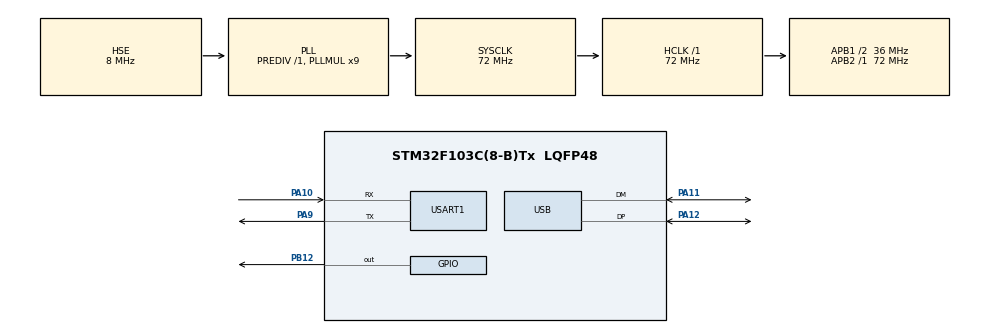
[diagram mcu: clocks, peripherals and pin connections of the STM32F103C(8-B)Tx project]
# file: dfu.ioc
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Dma.Request0=USART1_RX
Dma.USART1_RX.0.Direction=DMA_PERIPH_TO_MEMORY
Dma.USART1_RX.0.Instance=DMA1_Channel5
Dma.USART1_RX.0.MemDataAlignment=DMA_MDATAALIGN_BYTE
Dma.USART1_RX.0.MemInc=DMA_MINC_ENABLE
Dma.USART1_RX.0.Mode=DMA_CIRCULAR
Dma.USART1_RX.0.PeriphDataAlignment=DMA_PDATAALIGN_BYTE
Dma.USART1_RX.0.PeriphInc=DMA_PINC_DISABLE
Dma.USART1_RX.0.Priority=DMA_PRIORITY_LOW
Mcu.Family=STM32F1
Mcu.Name=STM32F103C(8-B)Tx
Mcu.Package=LQFP48
NVIC.DMA1_Channel5_IRQn=true\:0\:0\:false\:false\:true\:false\:true\:true
NVIC.PriorityGroup=NVIC_PRIORITYGROUP_4
NVIC.USB_LP_CAN1_RX0_IRQn=true\:0\:0\:false\:false\:true\:false\:true\:true
PA10.Mode=Asynchronous
PA10.Signal=USART1_RX
PA11.Mode=Device
PA11.Signal=USB_DM
PA12.Mode=Device
PA12.Signal=USB_DP
PA13.Mode=Serial_Wire
PA13.Signal=SYS_JTMS-SWDIO
PA14.Mode=Serial_Wire
PA14.Signal=SYS_JTCK-SWCLK
PA9.Mode=Asynchronous
PA9.Signal=USART1_TX
PB12.Signal=GPIO_Output
PD0-OSC_IN.Mode=HSE-External-Oscillator
PD0-OSC_IN.Signal=RCC_OSC_IN
PD1-OSC_OUT.Mode=HSE-External-Oscillator
PD1-OSC_OUT.Signal=RCC_OSC_OUT
ProjectManager.HeapSize=0x200
ProjectManager.StackSize=0x400
ProjectManager.TargetToolchain=STM32CubeIDE
RCC.AHBFreq_Value=72000000
RCC.APB1CLKDivider=RCC_HCLK_DIV2
RCC.APB1Freq_Value=36000000
RCC.APB1TimFreq_Value=72000000
RCC.APB2Freq_Value=72000000
RCC.APB2TimFreq_Value=72000000
RCC.HCLKFreq_Value=72000000
RCC.PLLMUL=RCC_PLL_MUL9
RCC.SYSCLKFreq_VALUE=72000000
RCC.SYSCLKSource=RCC_SYSCLKSOURCE_PLLCLK
RCC.USBFreq_Value=48000000
RCC.USBPrescaler=RCC_USBCLKSOURCE_PLL_DIV1_5
USART1.VirtualMode=VM_ASYNC
USB_DEVICE.APP_RX_DATA_SIZE=512
USB_DEVICE.APP_TX_DATA_SIZE=512
USB_DEVICE.CLASS_NAME_FS=CDC
USB_DEVICE.VirtualMode=Cdc
USB_DEVICE.VirtualModeFS=Cdc_FS
VP_USB_DEVICE_VS_USB_DEVICE_CDC_FS.Mode=CDC_FS
board=custom

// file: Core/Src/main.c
/* USER CODE BEGIN Header */
/**
  ******************************************************************************
  * @file           : main.c
  * @brief          : Main program body
  ******************************************************************************
  * @attention
  *
  * Copyright (c) 2024 STMicroelectronics.
  * All rights reserved.
  *
  * This software is licensed under terms that can be found in the LICENSE file
  * in the root directory of this software component.
  * If no LICENSE file comes with this software, it is provided AS-IS.
  *
  ******************************************************************************
  */
/* USER CODE END Header */
#include "main.h"
#include "dma.h"
#include "usart.h"
#include "usb_device.h"
#include "gpio.h"

/* USER CODE BEGIN PV */
extern uint8_t usb_rx_val[5];
extern bool usb_send;
extern UART_HandleTypeDef huart1;
bool uart_flag=false;
bool toggle_do=false;
uint32_t toggle_val=100;
uint8_t buffer_tx[64];
/* USER CODE END PV */

void SystemClock_Config(void);
/* USER CODE BEGIN PFP */
void sum_word(uint8_t *buf,uint8_t length,char *fmt,...);
bool is_same_string(uint8_t *buf, uint8_t start, uint8_t end,char *compare_string);
extern uint8_t CDC_Transmit_FS(uint8_t* Buf, uint16_t Len);
void send_cdc(uint8_t* buffer);
void send_flash_val(uint8_t length,uint32_t add);

void usb_reset(){
	GPIO_InitTypeDef GPIO_InitStruct = {0};
	  /*Configure GPIO pin : PB12 */
	GPIO_InitStruct.Pin = GPIO_PIN_12;
	GPIO_InitStruct.Mode = GPIO_MODE_OUTPUT_OD;
	GPIO_InitStruct.Pull = GPIO_NOPULL;
	GPIO_InitStruct.Speed = GPIO_SPEED_FREQ_LOW;
	HAL_GPIO_Init(GPIOA, &GPIO_InitStruct);

	HAL_GPIO_WritePin(GPIOA, GPIO_PIN_12, GPIO_PIN_RESET);
	HAL_Delay(500);
	HAL_GPIO_WritePin(GPIOA, GPIO_PIN_12, GPIO_PIN_SET);
	GPIO_InitStruct.Mode = GPIO_MODE_INPUT;
	HAL_GPIO_Init(GPIOA, &GPIO_InitStruct);
}

void sum_word(uint8_t *buf,uint8_t length,char *fmt,...){
	va_list arg;
	va_start(arg,fmt);
	memset(buf,0,length);
	vsnprintf((char*)buf,length,fmt,arg);
	va_end(arg);
}

void HAL_UART_RxCpltCallback(UART_HandleTypeDef *huart)
{
	uart_flag=true;
  /* Prevent unused argument(s) compilation warning */
  UNUSED(huart);
  /* NOTE: This function should not be modified, when the callback is needed,
           the HAL_UART_RxCpltCallback could be implemented in the user file
   */
}

bool is_same_string(uint8_t *buf, uint8_t start, uint8_t end,char *compare_string)
{
	uint8_t j=0;
	bool ret=false;
	for(uint8_t i=start;i<end;i++)
	{
		if(buf[i]==0)
		{
			break;
		}
		if(buf[i]==compare_string[j++]){
			ret=true;
		}
		else
		{
			ret=false;
			break;
		}
	}
	return ret;
}

void printf_select_area(uint8_t *buf,uint8_t start,uint8_t end)
{
	for(uint8_t i=start+1;i<end;i++){
		uint8_t you=buf[i];
		HAL_Delay(1);
		CDC_Transmit_FS(&you,1);
	}
	HAL_Delay(1);
}

void send_cdc(uint8_t* buffer){
	uint8_t length = strlen((char *)buffer);
	CDC_Transmit_FS(buffer,length);
}

void send_flash_val(uint8_t length,uint32_t add){
	uint8_t *flash_value=(uint8_t *)add;
	send_cdc((uint8_t *)"\n");
	memset(buffer_tx,0,64);
	for(uint8_t i=0;i<length;i++){
		sum_word(buffer_tx,64,"add : 0x%X, val : 0x%X\n",add+i,flash_value[i]);
		HAL_Delay(1);
		send_cdc(buffer_tx);
	}
}

void enter_press(uint8_t *buffer){
	if(is_same_string(buffer,0,6,(char*)"printf")){
		send_cdc((uint8_t*)"\n>>");
		printf_select_area(buffer,6,32);
		send_cdc((uint8_t*)"\n");
	}
	else if(is_same_string(buffer,0,4,(char*)"help")){
		send_cdc((uint8_t*)"\n\n");
		HAL_Delay(1);
		send_cdc((uint8_t*)"********************************************************************************\n");
		HAL_Delay(1);
		send_cdc((uint8_t*)"command list\n\n\n");
		HAL_Delay(1);
		send_cdc((uint8_t*)"1. led on - turn on led\n\n");
		HAL_Delay(1);
		send_cdc((uint8_t*)"2. led off - turn off led\n\n");
		HAL_Delay(1);
		send_cdc((uint8_t*)"3. led toggle [second] - toggle led at user set time\n\n");
		HAL_Delay(1);
		send_cdc((uint8_t*)"4. printf [value] - print value\n\n");
		HAL_Delay(1);
		send_cdc((uint8_t*)"5. flashread [value] - read flash memory data, start from 0x08014000 to value\n\n");
		HAL_Delay(1);
		send_cdc((uint8_t*)"********************************************************************************\n\n");
	}
	else if(is_same_string(buffer,0,3,(char*)"led")){
		if(is_same_string(buffer,4,6,(char*)"on")){
			HAL_GPIO_WritePin(GPIOB, GPIO_PIN_12, GPIO_PIN_RESET);
			toggle_do=false;
			send_cdc((uint8_t*)"\n");
		}
		if(is_same_string(buffer,4,7,(char*)"off")){
			HAL_GPIO_WritePin(GPIOB, GPIO_PIN_12, GPIO_PIN_SET);
			toggle_do=false;
			send_cdc((uint8_t*)"\n");
		}
		if(is_same_string(buffer,4,10,(char*)"toggle")){
			toggle_do=true;
			uint8_t toggle_val_index=11;
			uint8_t pre_toggle_val=toggle_val;
			if(buffer[11]!=0){
				toggle_val=0;
				while(buffer[toggle_val_index]!=0){
					if(buffer[toggle_val_index]<48 || buffer[toggle_val_index]>57){
						send_cdc((uint8_t*)"\ninput value is not number!\n");
						toggle_val=pre_toggle_val;
						break;
					}
					toggle_val=toggle_val*10+(buffer[toggle_val_index++]-48);
				}
			}
			send_cdc((uint8_t*)"\n");
		}
	}
	else if(is_same_string(buffer,0,9,(char*)"flashread")){
		uint8_t flash_add_index=10;
		uint8_t flash_add_val=0;
		if(buffer[10]!=0){
			while(buffer[flash_add_index]!=0){
				if(buffer[flash_add_index]<48 || buffer[flash_add_index]>57){
					send_cdc((uint8_t*)"\ninput value is not number!\n");
					flash_add_val=0;
					break;
				}
				flash_add_val=flash_add_val*10+(buffer[flash_add_index++]-48);
			}
			if(flash_add_val!=0){
				send_flash_val(flash_add_val,0x08005000+(60*1024));
			}
		}
	}
	else
	{
		send_cdc((uint8_t*)"\ninvalid input! typing [help] to get information about cli.\n");
	}
	HAL_Delay(1);
	send_cdc((uint8_t*)"\nCLI >> ");
}

/* USER CODE END PFP */

int main(void)
{

  /* MCU Configuration--------------------------------------------------------*/

  /* Reset of all peripherals, Initializes the Flash interface and the Systick. */
  HAL_Init();

  /* Configure the system clock */
  SystemClock_Config();

  /* USER CODE BEGIN SysInit */
  __HAL_RCC_GPIOA_CLK_ENABLE();
  usb_reset();
  /* USER CODE END SysInit */

  /* Initialize all configured peripherals */
  MX_GPIO_Init();
  MX_DMA_Init();
  MX_USB_DEVICE_Init();
  MX_USART1_UART_Init();
  /* USER CODE BEGIN 2 */
  uint32_t pretime=HAL_GetTick();
  uint8_t uart_rx_val=0;
  uint8_t uart1_rx[5]={0,0,0,0,0};
  uint8_t uart_index;
  uint8_t command_line[32];
  memset(command_line,0,5);
  uint8_t command_line_index=0;
  uint8_t current_cursor_index=0;
  uint32_t pre_time1=HAL_GetTick();
  /* USER CODE END 2 */

  /* Infinite loop */
  /* USER CODE BEGIN WHILE */
  while (1)
  {
	  /*
	   * ANSI escape sequence
	   * \x1B[1D:cursor left move
	   * \x1B[1D:cursor right move
	   * \x1B[1P:delete from cursor locate
	   * \x1B[4h(%c):insert mode set, %c is inserted of value at cursor locate
	   * \x1B[4l:replace mode
	   * \x1B[2J:clear terminal
	   * */
	  HAL_UART_Receive_DMA(&huart1,&uart_rx_val,1);
	  if(uart_flag){
		  uint32_t tick_val=HAL_GetTick();
		  if(tick_val-pre_time1>50){
		  	pre_time1=HAL_GetTick();
		  	memset(uart1_rx,0,5);
		  	uart_index=0;
		  }
		  uart_index%=5;
		  uart1_rx[uart_index++]=uart_rx_val;

		  sum_word(buffer_tx,64,"%X %X %X %X %X\n",uart1_rx[0],uart1_rx[1],uart1_rx[2],uart1_rx[3],uart1_rx[4]);
		  uart_flag=false;
		  HAL_UART_Transmit(&huart1,buffer_tx,64,100);
	  }
	  if(HAL_GetTick()-pretime>toggle_val && toggle_do){
		  HAL_GPIO_TogglePin(GPIOB, GPIO_PIN_12);
		  pretime=HAL_GetTick();
	  }
	  if(usb_send){
		  switch(usb_rx_val[0]){
		  case(0x1B)://when esc begin
				  switch(usb_rx_val[2]){
				  case(0x44)://left move
						  if(current_cursor_index>0){
							  sum_word(buffer_tx,64,"\x1B[1D");
							  current_cursor_index--;
							  CDC_Transmit_FS(buffer_tx,64);
						  }
						  break;
				  case(0x43)://right move
						  if(current_cursor_index<command_line_index){
							  sum_word(buffer_tx,64,"\x1B[1C");
							  current_cursor_index++;
							  CDC_Transmit_FS(buffer_tx,64);
						  }
						  break;
				  case(0x42)://down move
						  break;
				  case(0x41)://up move
						  break;
				  case(0x31)://home button
						  for(uint8_t i=0;i<current_cursor_index;i++){
							  sum_word(buffer_tx,64,"\x1B[1D");
							  CDC_Transmit_FS(buffer_tx,64);
							  HAL_Delay(1);
						  }
						  current_cursor_index=0;
						  break;
				  case(0x34)://end button
							 for(uint8_t i=current_cursor_index;i<command_line_index;i++){
								 sum_word(buffer_tx,64,"\x1B[1C");
								 CDC_Transmit_FS(buffer_tx,64);
								 HAL_Delay(1);
							 }
						  current_cursor_index=command_line_index;
						  break;
				  }
				  break;
		  case(0x08)://backspace
				  if(current_cursor_index==0 || command_line_index==0){
					  break;
				  }
				  else if(current_cursor_index>0){
					  command_line[--current_cursor_index]=0;
				  	  command_line_index--;
				  	  for(uint8_t i=current_cursor_index;i<command_line_index;i++){
				  		  if(i+1>31){
				  			command_line[i]=0;
				  			break;
				  		  }
				  		  command_line[i]=command_line[i+1];
				  		  command_line[i+1]=0;
				  	  }
				  	  sum_word(buffer_tx,64,"\x1B[1D\x1B[1P");
				  	  CDC_Transmit_FS(buffer_tx,64);
				  }
		  	  	  break;
		  case(0x0D)://case enter
				  enter_press(command_line);
				  memset(command_line,0,32);
		  	  	  command_line_index=0;
		  	  	  current_cursor_index=0;
		  	  	  break;
		  case(0x7F)://case delete
				  if(command_line_index==0||command_line_index==current_cursor_index){
					  break;
				  }
				  for(uint8_t i=current_cursor_index;i<command_line_index;i++){
					  if(i+1>31){
						  command_line[i]=0;
						  break;
					  }
					  command_line[i]=command_line[i+1];
					  command_line[i+1]=0;
				  }
				  command_line_index--;
				  sum_word(buffer_tx,64,"\x1B[1P");
				  CDC_Transmit_FS(buffer_tx,64);
				  break;
		  default://insertion
			  	  if(command_line_index>31){
			  		  break;
			  	  }
			  	  for(uint8_t i=command_line_index;i>current_cursor_index;i--){
			  		  if(i>31){
			  			  break;
			  		  }
			  		  command_line[i]=command_line[i-1];
			  	  }
			  	  command_line[current_cursor_index++]=usb_rx_val[0];
			  	  command_line_index++;
			  	  sum_word(buffer_tx,64,"\x1B[4h%c\x1B[4l",usb_rx_val[0]);
			  	  CDC_Transmit_FS(buffer_tx,64);
			  	  break;
		  }
		  usb_send=false;
		  sum_word(buffer_tx,64,"\x1B[2J\nsend val:%s\n",command_line);
		  HAL_UART_Transmit(&huart1,buffer_tx,64,100);
		  sum_word(buffer_tx,64,"send_command:0x%X %X %X %X %X\n",usb_rx_val[0],usb_rx_val[1], usb_rx_val[2],usb_rx_val[3],usb_rx_val[4]);
		  HAL_UART_Transmit(&huart1,buffer_tx,64,100);
		  sum_word(buffer_tx,64,"cursor:%d index:%d",current_cursor_index,command_line_index);
		  HAL_UART_Transmit(&huart1,buffer_tx,64,100);
	  }

    /* USER CODE END WHILE */

  }
}

void SystemClock_Config(void)
{
  RCC_OscInitTypeDef RCC_OscInitStruct = {0};
  RCC_ClkInitTypeDef RCC_ClkInitStruct = {0};
  RCC_PeriphCLKInitTypeDef PeriphClkInit = {0};

  /** Initializes the RCC Oscillators according to the specified parameters
  * in the RCC_OscInitTypeDef structure.
  */
  RCC_OscInitStruct.OscillatorType = RCC_OSCILLATORTYPE_HSE;
  RCC_OscInitStruct.HSEState = RCC_HSE_ON;
  RCC_OscInitStruct.HSEPredivValue = RCC_HSE_PREDIV_DIV1;
  RCC_OscInitStruct.HSIState = RCC_HSI_ON;
  RCC_OscInitStruct.PLL.PLLState = RCC_PLL_ON;
  RCC_OscInitStruct.PLL.PLLSource = RCC_PLLSOURCE_HSE;
  RCC_OscInitStruct.PLL.PLLMUL = RCC_PLL_MUL9;
  if (HAL_RCC_OscConfig(&RCC_OscInitStruct) != HAL_OK)
  {
    Error_Handler();
  }

  /** Initializes the CPU, AHB and APB buses clocks
  */
  RCC_ClkInitStruct.ClockType = RCC_CLOCKTYPE_HCLK|RCC_CLOCKTYPE_SYSCLK
                              |RCC_CLOCKTYPE_PCLK1|RCC_CLOCKTYPE_PCLK2;
  RCC_ClkInitStruct.SYSCLKSource = RCC_SYSCLKSOURCE_PLLCLK;
  RCC_ClkInitStruct.AHBCLKDivider = RCC_SYSCLK_DIV1;
  RCC_ClkInitStruct.APB1CLKDivider = RCC_HCLK_DIV2;
  RCC_ClkInitStruct.APB2CLKDivider = RCC_HCLK_DIV1;

  if (HAL_RCC_ClockConfig(&RCC_ClkInitStruct, FLASH_LATENCY_2) != HAL_OK)
  {
    Error_Handler();
  }
  PeriphClkInit.PeriphClockSelection = RCC_PERIPHCLK_USB;
  PeriphClkInit.UsbClockSelection = RCC_USBCLKSOURCE_PLL_DIV1_5;
  if (HAL_RCCEx_PeriphCLKConfig(&PeriphClkInit) != HAL_OK)
  {
    Error_Handler();
  }
}

void Error_Handler(void)
{
  __disable_irq();
  while (1)
  {
  }
}
